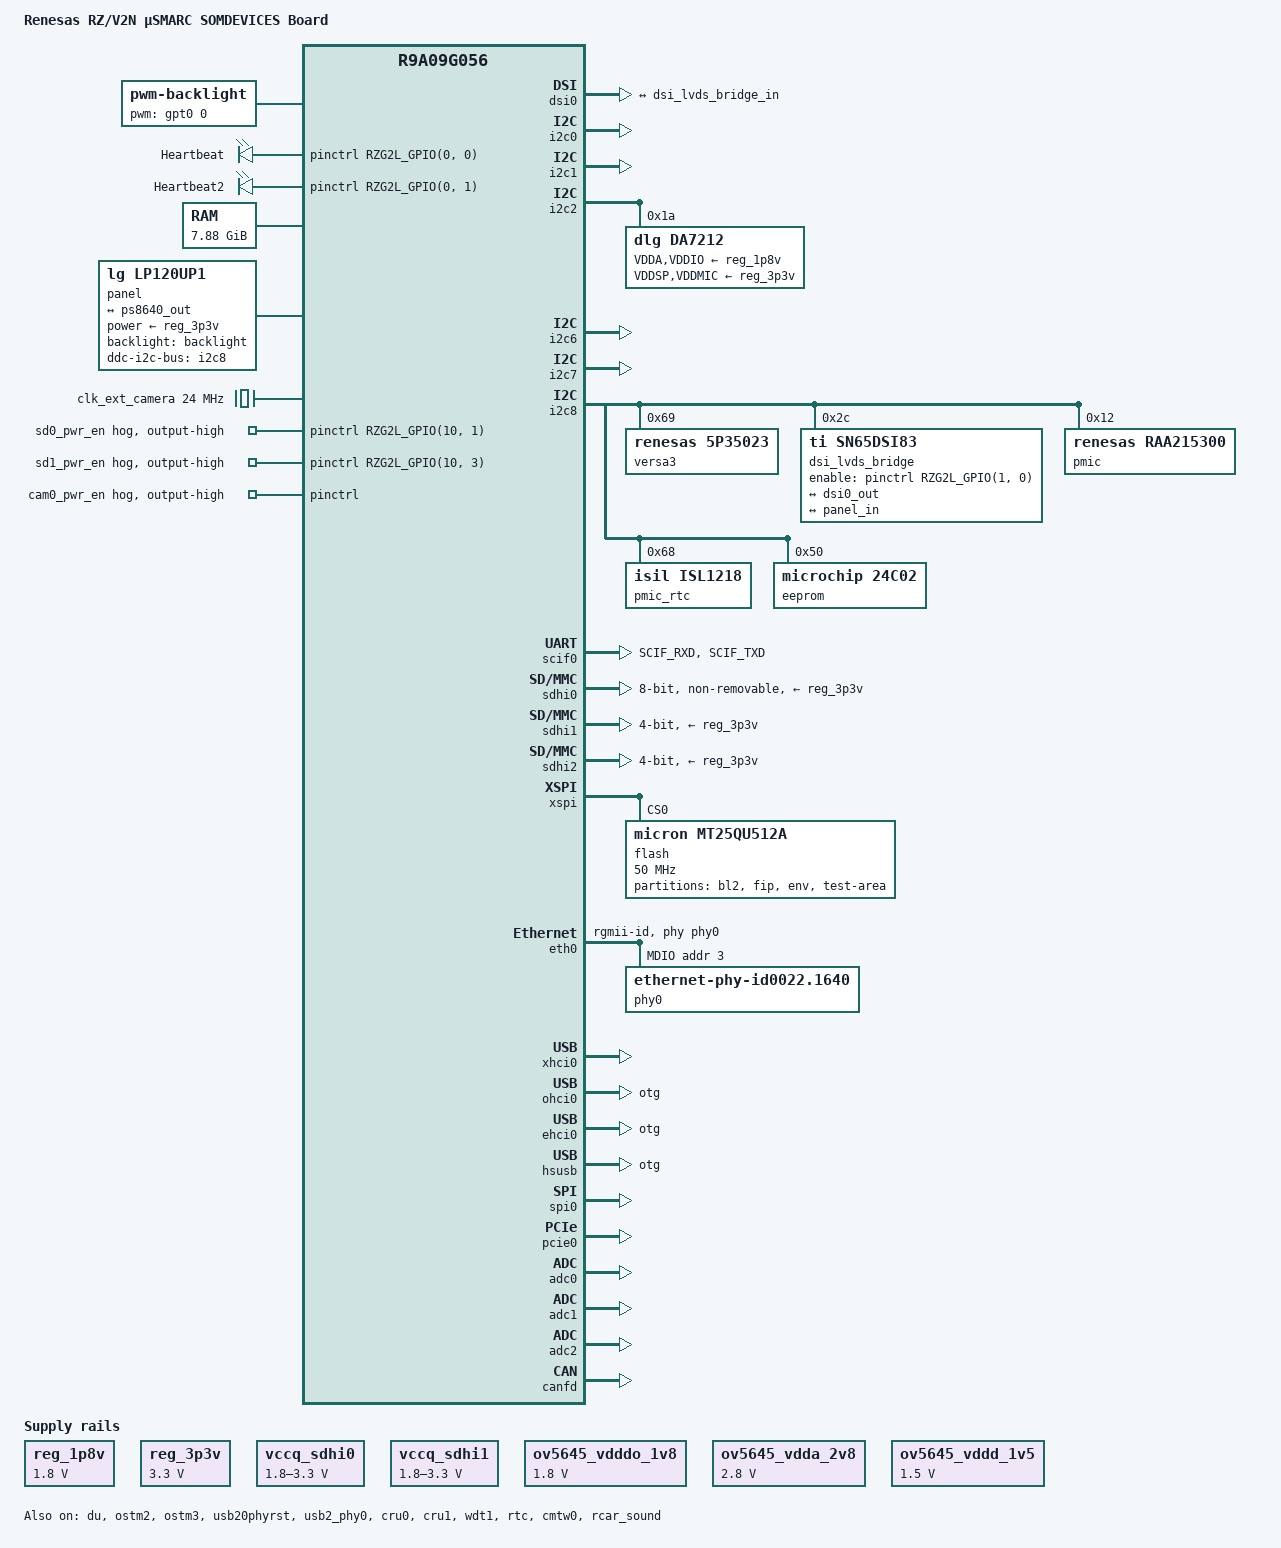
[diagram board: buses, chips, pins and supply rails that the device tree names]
// SPDX-License-Identifier: (GPL-2.0-only OR BSD-2-Clause)
/*
 * Device Tree Source for the RZ/V2N EVK board
 *
 * Copyright (C) 2024 Renesas Electronics Corp.
 */

/dts-v1/;
#include "r9a09g056.dtsi"
#include <dt-bindings/pinctrl/rzg2l-pinctrl.h>
#include <dt-bindings/gpio/gpio.h>

/*
 * SSI-DA7212
 *
 * These commands are required when Playback/Capture
 *
 *	amixer -q cset name='Aux Switch' on
 *	amixer -q cset name='Mixin Left Aux Left Switch' on
 *	amixer -q cset name='Mixin Right Aux Right Switch' on
 *	amixer -q cset name='ADC Switch' on
 *	amixer -q cset name='Mixout Right Mixin Right Switch' off
 *	amixer -q cset name='Mixout Left Mixin Left Switch' off
 *	amixer -q cset name='Headphone Volume' 70%
 *	amixer -q cset name='Headphone Switch' on
 *	amixer -q cset name='Mixout Left DAC Left Switch' on
 *	amixer -q cset name='Mixout Right DAC Right Switch' on
 *	amixer -q cset name='DAC Left Source MUX' 'DAI Input Left'
 *	amixer -q cset name='DAC Right Source MUX' 'DAI Input Right'
 *	amixer -q sset 'Mic 1 Amp Source MUX' 'MIC_P'
 *	amixer -q sset 'Mic 2 Amp Source MUX' 'MIC_P'
 *	amixer -q sset 'Mixin Left Mic 1' on
 *	amixer -q sset 'Mixin Right Mic 2' on
 *	amixer -q sset 'Mic 1' 90% on
 *	amixer -q sset 'Mic 2' 90% on
 *	amixer -q sset 'Lineout' 80% on
 *	amixer -q set "Headphone" 100% on
 *
 * When Capture, use this command to amplify sound
 *	amixer set 'DVC In',0 100%
 */

/ {
	model = "Renesas RZ/V2N µSMARC SOMDEVICES Board";
	compatible = "renesas,r9a09g056n44-somdevices", "renesas,r9a09g056n44", "renesas,r9a09g056";

	aliases {
		serial0 = &scif0;
		serial1 = &sci0;
		serial2 = &sci4;
		serial3 = &sci5;
		serial4 = &sci8;
		serial5 = &sci9;
		mmc0 = &sdhi0;
		mmc1 = &sdhi1;
		mmc2 = &sdhi2;
		ethernet0 = &eth0;
		ethernet1 = &eth1;
	};

	backlight: backlight {
		compatible = "pwm-backlight";
		pwms = <&gpt0 0 50000>;

		brightness-levels = <0 4 8 16 32 64 128 255>;
		default-brightness-level = <6>;
	};

	chosen {
		bootargs = "ignore_loglevel";
		stdout-path = "serial0:115200n8";
	};

	leds {
		compatible = "gpio-leds";

		status {
			label = "Heartbeat";
			gpios = <&pinctrl RZG2L_GPIO(0, 0) GPIO_ACTIVE_HIGH>;
			linux,default-trigger = "heartbeat";
		};

		status2 {
			label = "Heartbeat2";
			gpios = <&pinctrl RZG2L_GPIO(0, 1) GPIO_ACTIVE_HIGH>;
			linux,default-trigger = "heartbeat";
		};
	};

	memory@48000000 {
		device_type = "memory";
		/* first 128MB is reserved for secure area. */
		reg = <0x0 0x48000000 0x1 0xF8000000>;
	};

	panel: panel {
		//Copied from mediatek/mt8173-elm.dtsi
		compatible = "lg,lp120up1";
		power-supply = <&reg_3p3v>;
		ddc-i2c-bus = <&i2c8>;
		backlight = <&backlight>;

		port {
			panel_in: endpoint {
				remote-endpoint = <&ps8640_out>;
			};
		};
	};

	reserved-memory {
		#address-cells = <2>;
		#size-cells = <2>;
		ranges;

		global_cma: linux,cma@58000000 {
			compatible = "shared-dma-pool";
			linux,cma-default;
			reusable;
			reg = <0x0 0x58000000 0x0 0x10000000>;
		};

		mmp_reserved: linux,multimedia {
			compatible = "shared-dma-pool";
			reusable;
			reg = <0x00000000 0x68000000 0x0 0x20000000>;
		};

		isp: ISP@90000000 {
			compatible = "shared-dma-pool";
			reusable;
			reg = <0x0 0x90000000 0x0 0x18000000>;
		};

		opencva_reserved: OpenCVA@A8000000 {
			reusable;
			reg = <0x0 0xA8000000 0x0 0x7CFF000>;
		};

		shared_drp_reserved: SharedDRP@AFCFF000 {
			reusable;
			reg = <0x0 0xAFCFF000 0x0 0x00001000>;
		};

		drp_codec: DRP-Codec@AFD00000 {
			reusable;
			reg = <0x0 0xAFD00000 0x0 0x300000>;
		};

		image_buf0: image_buf@B0000000 {
			compatible = "shared-dma-pool";
			reusable;
			reg = <0x0 0xB0000000 0x0 0x4000000>;
			label = "image_buf0";
		};

		cru_func: cru_buffer@B4000000 {
			compatible = "shared-dma-pool";
			reusable;
			reg = <0x0 0xB4000000 0x0 0x16400000>;
		};

		drp_reserved: DRP-AI@D0000000 {
			reusable;
			reg = <0x0 0xD0000000 0x0 0x20000000>;
		};
	};

	mmngr {
		compatible = "renesas,mmngr";
		memory-region = <&mmp_reserved>;
	};

	mmngrbuf {
		compatible = "renesas,mmngrbuf";
	};

	vspm_if {
		compatible = "renesas,vspm_if";
	};

	reg_1p8v: regulator0 {
		compatible = "regulator-fixed";

		regulator-name = "fixed-1.8V";
		regulator-min-microvolt = <1800000>;
		regulator-max-microvolt = <1800000>;
		regulator-boot-on;
		regulator-always-on;
	};

	reg_3p3v: regulator1 {
		compatible = "regulator-fixed";

		regulator-name = "fixed-3.3V";
		regulator-min-microvolt = <3300000>;
		regulator-max-microvolt = <3300000>;
		regulator-boot-on;
		regulator-always-on;
	};

	vccq_sdhi0: regulator-vccq-sdhi0 {
		compatible = "regulator-gpio";

		regulator-name = "SDHI0 VccQ";
		regulator-min-microvolt = <1800000>;
		regulator-max-microvolt = <3300000>;

		gpios = <&pinctrl RZG2L_GPIO(10, 0) GPIO_ACTIVE_HIGH>;

		gpios-states = <0>;
		states = <3300000 0 1800000 1>;
	};

	vccq_sdhi1: regulator-vccq-sdhi1 {
		compatible = "regulator-gpio";

		regulator-name = "SDHI1 VccQ";
		regulator-min-microvolt = <1800000>;
		regulator-max-microvolt = <3300000>;

		gpios = <&pinctrl RZG2L_GPIO(10, 2) GPIO_ACTIVE_HIGH>;

		gpios-states = <0>;
		states = <3300000 0 1800000 1>;
	};

	clk_ext_camera: clk_ext_camera {
		compatible = "fixed-clock";
		#clock-cells = <0>;
		clock-frequency = <24000000>;
	};

	ov5645_vdddo_1v8: 1p8v {
		compatible = "regulator-fixed";
		regulator-name = "camera_vdddo";
		regulator-min-microvolt = <1800000>;
		regulator-max-microvolt = <1800000>;
		regulator-always-on;
	};

	ov5645_vdda_2v8: 2p8v {
		compatible = "regulator-fixed";
		regulator-name = "camera_vdda";
		regulator-min-microvolt = <2800000>;
		regulator-max-microvolt = <2800000>;
		regulator-always-on;
	};

	ov5645_vddd_1v5: 1p5v {
		compatible = "regulator-fixed";
		regulator-name = "camera_vddd";
		regulator-min-microvolt = <1500000>;
		regulator-max-microvolt = <1500000>;
		regulator-always-on;
	};

	x1_clk: x1-clock {
		compatible = "fixed-clock";
		#clock-cells = <0>;
		clock-frequency = <24000000>;
	};

	codec_test0: codec_test {
		compatible = "linux,snd-soc-dummy";
		#sound-dai-cells = <0>;
	};

	codec_test1: codec_test {
		compatible = "linux,snd-soc-dummy";
		#sound-dai-cells = <0>;
	};

	snd_rzv2n: sound {
		#address-cells = <1>;
		#size-cells = <0>;
		compatible = "simple-audio-card";
		simple-audio-card,name = "rsnd_rzv2n";
		status="okay";

		ssi_link: simple-audio-card,dai-link@0 {
			format = "i2s";
			reg = <0>;
			bitclock-master = <&cpu_dai0>;
			frame-master = <&cpu_dai0>;
			mclk-fs = <256>;

			cpu_dai0: cpu {
				sound-dai = <&rcar_sound 0>;
			};

			codec {
				sound-dai = <&da7212>;
				clocks = <&rcar_sound>;
			};
		};
	};

	x1_clk: x1-clock {
		compatible = "fixed-clock";
		#clock-cells = <0>;
		clock-frequency = <24000000>;
	};
};

&audio_clka {
	clock-frequency = <22579200>;
};

&audio_clkb {
	clock-frequency = <24576000>;
};

&audio_clkc {
	clock-frequency = <22579200>;
};

&pinctrl {

	gpt_pins: gpt {
		pinmux = <RZG2L_PORT_PINMUX(10, 7, 11)>; /* GTIOC7B */
	};

	i2c0_pins: i2c0 {
		pinmux = <RZG2L_PORT_PINMUX(3, 0, 1)>, /* I2C0_SDA */
			 <RZG2L_PORT_PINMUX(3, 1, 1)>; /* I2C0_SCL */
	};

	i2c1_pins: i2c1 {
		pinmux = <RZG2L_PORT_PINMUX(3, 2, 1)>, /* I2C1_SDA */
			 <RZG2L_PORT_PINMUX(3, 3, 1)>; /* I2C1_SCL */
	};

	i2c2_pins: i2c2 {
		pinmux = <RZG2L_PORT_PINMUX(2, 0, 4)>, /* I2C2_SDA */
			 <RZG2L_PORT_PINMUX(2, 1, 4)>; /* I2C2_SCL */
	};

	i2c6_pins: i2c6 {
		pinmux = <RZG2L_PORT_PINMUX(4, 4, 1)>, /* I2C6_SDA */
			 <RZG2L_PORT_PINMUX(4, 5, 1)>; /* I2C6_SCL */
	};

	i2c7_pins: i2c7 {
		pinmux = <RZG2L_PORT_PINMUX(4, 6, 1)>, /* I2C7_SDA */
			 <RZG2L_PORT_PINMUX(4, 7, 1)>; /* I2C7_SCL */
	};

	i2c8_pins: i2c8 {
		pinmux = <RZG2L_PORT_PINMUX(0, 6, 1)>, /* I2C8_SDA */
			 <RZG2L_PORT_PINMUX(0, 7, 1)>; /* I2C8_SCL */
	};

	scif0_pins: scif0 {
		pins =  "SCIF_RXD", "SCIF_TXD";
	};

	sd0_pwr_en {
		gpio-hog;
		gpios = <RZG2L_GPIO(10, 1) GPIO_ACTIVE_HIGH>;
		output-high;
		line-name = "sd0_pwr_en";
	};

	sd1_pwr_en {
		gpio-hog;
		gpios = <RZG2L_GPIO(10, 3) GPIO_ACTIVE_HIGH>;
		output-high;
		line-name = "sd1_pwr_en";
	};

	/* Support pinctrl for SD function of SDHI1 */
	sdhi1_pins: sd1 {
		sd1_mux {
			pinmux = <RZG2L_PORT_PINMUX(9, 4, 14)>, /* SD1_CD */
				 <RZG2L_PORT_PINMUX(10, 6, 15)>; /* SD1_WP */
		};
	};

	sdhi2_pins: sd2 {
		sd2_mux {
			pinmux = <RZG2L_PORT_PINMUX(11, 0, 1)>, /* SD2_CLK */
				 <RZG2L_PORT_PINMUX(11, 1, 1)>, /* SD2_DAT0 */
				 <RZG2L_PORT_PINMUX(11, 2, 1)>, /* SD2_DAT1 */
				 <RZG2L_PORT_PINMUX(11, 3, 1)>, /* SD2_DAT2 */
				 <RZG2L_PORT_PINMUX(11, 4, 1)>, /* SD2_DAT3 */
				 <RZG2L_PORT_PINMUX(11, 5, 1)>; /* SD2_CMD */
		};
	};

	usb30_pins: usb30 {
		pinmux = <RZG2L_PORT_PINMUX(6, 0, 14)>; /* VBUS */
	};

	usb20_pins: usb20 {
		pinmux = <RZG2L_PORT_PINMUX(9, 5, 14)>; /* VBUS */
	};

	spi0_pins: spi0 {
		pinmux = <RZG2L_PORT_PINMUX(9, 1, 1)>, /* MISO */
			 <RZG2L_PORT_PINMUX(9, 0, 1)>, /* MOSI */
			 <RZG2L_PORT_PINMUX(9, 3, 1)>, /* SSL0 */
			 <RZG2L_PORT_PINMUX(9, 2, 1)>, /* RSPCK */
			 <RZG2L_PORT_PINMUX(0, 5, 2)>; /* SSL1 */
	};

	/* cam0_pwr_en is used by Google Coral Camera from CSI20 and CSI21 */
	cam0_pwr_en {
		gpio-hog;
		//gpios = <RZG2L_GPIO(11, 2) GPIO_ACTIVE_HIGH>;
		output-high;
		line-name = "cam0_pwr_en";
	};

	/* Support pinctrl for CANFD */
	can0_pins: can0 {
		pinmux = <RZG2L_PORT_PINMUX(8, 0, 5)>, /* CAN1_TX */
			 <RZG2L_PORT_PINMUX(8, 1, 5)>; /* CAN1_RX */
	};

	can1_pins: can1 {
		pinmux = <RZG2L_PORT_PINMUX(8, 2, 5)>, /* CAN2_TX */
			 <RZG2L_PORT_PINMUX(8, 3, 5)>; /* CAN2_RX */
	};

	sci0_pins: sci0 {
		pinmux = <RZG2L_PORT_PINMUX(5, 0, 1)>, /* UART0_TXD */
			 <RZG2L_PORT_PINMUX(5, 1, 1)>, /* UART0_RXD */
			 <RZG2L_PORT_PINMUX(5, 2, 4)>, /* UART0_CTS */
			 <RZG2L_PORT_PINMUX(5, 3, 2)>; /* UART0_RTS */
	};

	sci2_pins: sci2 {
		pinmux = <RZG2L_PORT_PINMUX(5, 4, 1)>, /* UART2_BT_TXD */
			 <RZG2L_PORT_PINMUX(5, 5, 1)>, /* UART2_BT_RXD */
			 <RZG2L_PORT_PINMUX(5, 6, 4)>, /* UART2_BT_CTS */
			 <RZG2L_PORT_PINMUX(5, 7, 2)>; /* UART2_BT_RTS */
	};

	sci3_pins: sci3 {
		pinmux = <RZG2L_PORT_PINMUX(3, 4, 2)>, /* UART3_TXD */
			 <RZG2L_PORT_PINMUX(3, 5, 2)>, /* UART3_RXD */
			 <RZG2L_PORT_PINMUX(3, 6, 4)>, /* UART3_CTS */
			 <RZG2L_PORT_PINMUX(3, 7, 2)>; /* UART3_RTS */
	};

	sci4_pins: sci4 {
		pinmux = <RZG2L_PORT_PINMUX(8, 4, 6)>, /* UART4_TXD */
			 <RZG2L_PORT_PINMUX(8, 5, 6)>; /* UART4_RXD */
	};

	sound_clk_pins: sound_clk {
		pinmux = <RZG2L_PORT_PINMUX(1, 0, 7)>, /* AUDIO_CLKB */
			 <RZG2L_PORT_PINMUX(1, 1, 7)>, /* AUDIO_CLKC */
			 <RZG2L_PORT_PINMUX(9, 7, 8)>; /* AUDIO_CLKOUT */
	};

	sound_pins: sound {
		pinmux = <RZG2L_PORT_PINMUX(1, 2, 7)>, /* SSI3_SCK */
			 <RZG2L_PORT_PINMUX(1, 3, 7)>, /* SSI3_WS */
			 <RZG2L_PORT_PINMUX(0, 4, 7)>, /* SSI3_SDATA */
			 <RZG2L_PORT_PINMUX(1, 5, 7)>; /* SSI4_SDATA */

	};
};

&du {
	status = "okay";
};

&dsi0 {
	status = "okay";

	ports {
		port@1 {
			dsi0_out: endpoint {
				remote-endpoint = <&dsi_lvds_bridge_in>;
				data-lanes = <1 2 3 4>;
			};
		};
	};
};

&extal_clk {
	clock-frequency = <24000000>;
};

&gpt0 {
	pinctrl-0 = <&gpt_pins>;
	pinctrl-names = "default";
	channel = "channel_B";
	/* TODO gpt: Add correct support */
	status = "disabled";
};

&i2c0 {
	pinctrl-0 = <&i2c0_pins>;
	pinctrl-names = "default";

	status = "okay";
};

&i2c1 {
	pinctrl-0 = <&i2c1_pins>;
	pinctrl-names = "default";

	status = "okay";
};

&i2c2 {
	pinctrl-0 = <&i2c2_pins>;
	pinctrl-names = "default";

	status = "okay";

	da7212: codec@1a {
		compatible = "dlg,da7212";
		#sound-dai-cells = <0>;
		#address-cells = <1>;
		#size-cells = <0>;
		reg = <0x1a>;

		clocks = <&rcar_sound>;
		clock-names = "mclk";

		dlg,micbias1-lvl = <2500>;
		dlg,micbias2-lvl = <2500>;
		dlg,dmic-data-sel = "lrise_rfall";
		dlg,dmic-samplephase = "between_clkedge";
		dlg,dmic-clkrate = <3000000>;

		VDDA-supply = <&reg_1p8v>;
		VDDSP-supply = <&reg_3p3v>;
		VDDMIC-supply = <&reg_3p3v>;
		VDDIO-supply = <&reg_1p8v>;
	};
};

&i2c6 {
	pinctrl-0 = <&i2c6_pins>;
	pinctrl-names = "default";

	status = "okay";
};

&i2c7 {
	pinctrl-0 = <&i2c7_pins>;
	pinctrl-names = "default";

	status = "okay";
};

&i2c8 {
	pinctrl-0 = <&i2c8_pins>;
	pinctrl-names = "default";

	status = "okay";

	versa3: versa3@69 {
		compatible = "renesas,5p35023";
		reg = <0x69>;
		#clock-cells = <1>;
		clocks = <&x1_clk>;
		clock-names = "x1";
		otp-burned;
		32kHz-free-running;
		assigned-clocks = <&versa3 0>,
				  <&versa3 1>,
				  <&versa3 2>,
				  <&versa3 3>,
				  <&versa3 4>,
				  <&versa3 5>;
		assigned-clock-rates =  <100000000>, <100000000>,
					<22579200>, <32768>,
					<24578000>, <24000000>;
		clock-divider-read-only = <1>, <1>, <1>, <1>, <1>;
		clock-flags = <2176>, <2176>, <2176>, <2052>, <2176>, <2048>;
	};

	dsi_lvds_bridge: sn65dsi84@2c {
		compatible = "ti,sn65dsi83";
		reg = <0x2c>;
		ti,dsi-lanes = <4>;
		ti,lvds-format = <2>;
		ti,lvds-bpp = <24>;
		ti,lvds-channels = <1>;
		ti,width-mm = <154>;
		ti,height-mm = <87>;
		enable-gpios = <&pinctrl RZG2L_GPIO(1, 0) GPIO_ACTIVE_HIGH>;
		status = "okay";

		display-timings {
			lvds {
				clock-frequency = <51200000>;
				hactive = <1024>;
				vactive = <600>;
				hfront-porch = <120>;
				hsync-len = <20>;
				hback-porch = <140>;
				vfront-porch = <12>;
				vsync-len = <3>;
				vback-porch = <20>;

				hsync-active = <0>;
				vsync-active = <0>;
				de-active = <1>;
				pixelclk-active = <0>;
			};
		};

		ports {
			#address-cells = <1>;
			#size-cells = <0>;

			port@0 {
				reg = <0>;
				dsi_lvds_bridge_in: endpoint@0 {
					remote-endpoint = <&dsi0_out>;
				};
			};

			port@1 {
				reg = <1>;
				ps8640_out: endpoint@1 {
					remote-endpoint = <&panel_in>;
				};
			};
		};
	};

	pmic: raa215300@12 {
		compatible = "renesas,raa215300";
		reg = <0x12>;

		rtc-enable;

		charger-enable;
		charger-current-level = <60>;
		charger-termination-voltage = <3000>;
	};

	pmic_rtc: rtc@68 {
		compatible = "isil,isl1218";
		reg = <0x68>;
	};

	eeprom@50 {
		compatible = "microchip,24c02";
		reg = <0x50>;
	};
};

&ostm2 {
	status = "okay";
};

&ostm3 {
	status = "okay";
};

&scif0 {
	pinctrl-0 = <&scif0_pins>;
	pinctrl-names = "default";

	status = "okay";
};

&sdhi0 {
	vmmc-supply = <&reg_3p3v>;
	vqmmc-supply = <&reg_1p8v>;
	vqmmc-supply = <&vccq_sdhi0>;
	bus-width = <8>;
	mmc-hs200-1_8v;
	non-removable;
	fixed-emmc-driver-type = <1>;
	status = "okay";
};

&sdhi1 {
	pinctrl-0 = <&sdhi1_pins>;
	pinctrl-names = "default";

	vmmc-supply = <&reg_3p3v>;
	vqmmc-supply = <&vccq_sdhi1>;
	bus-width = <4>;
	sd-uhs-sdr50;
	sd-uhs-sdr104;
	status = "okay";
};

&sdhi2 {
	pinctrl-0 = <&sdhi2_pins>;
	pinctrl-names = "default";

	vmmc-supply = <&reg_3p3v>;
	bus-width = <4>;
	sd-uhs-sdr50;
	sd-uhs-sdr104;
	status = "okay";
};

&xspi {
	status = "okay";

	flash@0 {
		compatible = "micron,mt25qu512a", "jedec,spi-nor";
		reg = <0>;
		m25p,fast-read;
		spi-max-frequency = <50000000>;
		spi-tx-bus-width = <1>;
		spi-rx-bus-width = <1>;

		partitions {
			compatible = "fixed-partitions";
			#address-cells = <1>;
			#size-cells = <1>;

			partition@000000 {
				label = "bl2";
				reg = <0x00000000 0x0001D200>;
				read-only;
			};

			partition@01D200 {
				label = "fip";
				reg = <0x0001D200 0x001C2E00>;
				read-only;
			};

			partition@1E0000 {
				label = "env";
				reg = <0x001E0000 0x00020000>;
				read-only;
			};

			partition@200000 {
				label = "test-area";
				reg = <0x00200000 0x00E00000>;
			};
		};
	};
};

&eth0 {
	phy-handle = <&phy0>;
	phy-mode = "rgmii-id";
	status = "okay";

	mdio {
		#address-cells = <1>;
		#size-cells = <0>;
		phy0: ethernet-phy@3 {
			compatible = "ethernet-phy-id0022.1640",
				     "ethernet-phy-ieee802.3-c22";
			reg = <3>;
			rxc-skew-psec = <1400>;
			txc-skew-psec = <1400>;
			rxdv-skew-psec = <0>;
			txdv-skew-psec = <0>;
			rxd0-skew-psec = <0>;
			rxd1-skew-psec = <0>;
			rxd2-skew-psec = <0>;
			rxd3-skew-psec = <0>;
			txd0-skew-psec = <0>;
			txd1-skew-psec = <0>;
			txd2-skew-psec = <0>;
			txd3-skew-psec = <0>;
		};
	};
};

&eth1 {
	phy-handle = <&phy1>;
	phy-mode = "rgmii-id";
	status = "disabled";

	mdio {
		#address-cells = <1>;
		#size-cells = <0>;
		phy1: ethernet-phy@3 {
			compatible = "ethernet-phy-id0022.1640",
				     "ethernet-phy-ieee802.3-c22";
			reg = <3>;
			rxc-skew-psec = <1400>;
			txc-skew-psec = <1400>;
			rxdv-skew-psec = <0>;
			txdv-skew-psec = <0>;
			rxd0-skew-psec = <0>;
			rxd1-skew-psec = <0>;
			rxd2-skew-psec = <0>;
			rxd3-skew-psec = <0>;
			txd0-skew-psec = <0>;
			txd1-skew-psec = <0>;
			txd2-skew-psec = <0>;
			txd3-skew-psec = <0>;
		};
	};
};

&xhci0 {
	pinctrl-0 = <&usb30_pins>;
	pinctrl-names = "default";

	memory-region = <&global_cma>;
	status = "okay";
};

&usb20phyrst {
	status = "okay";
};

&ohci0 {
	memory-region = <&global_cma>;

	dr_mode = "otg";
	status = "okay";
};

&ehci0 {
	memory-region = <&global_cma>;

	dr_mode = "otg";
	status = "okay";
};

&hsusb {
	dr_mode = "otg";
	status = "okay";
};

&usb2_phy0 {
	pinctrl-0 = <&usb20_pins>;
	pinctrl-names = "default";

	status = "okay";
};

&cru0 {
	status = "okay";
};

&csi20 {
	status = "disabled";
};

&cru1 {
	status = "okay";
};

&csi21 {
	status = "disabled";
};

&wdt1 {
	status = "okay";
};

&rtc {
	status = "okay";
};

&cmtw0 {
	status = "okay";
};

&spi0 {
	pinctrl-0 = <&spi0_pins>;
	pinctrl-names = "default";

	status = "okay";
};

&pcie0 {
	/* Map all possible DDR as inbound ranges */
	dma-ranges = <0x42000000 0 0x40000000 0 0x40000000 0x2 0x00000000>;

	status = "okay";
};

&adc0 {
	status = "okay";
};

&adc1 {
	status = "okay";
};

&adc2 {
	status = "okay";
};

&canfd {
	pinctrl-0 = <&can0_pins &can1_pins>;
	pinctrl-names = "default";
	status = "okay";

	channel0 {
		status = "okay";
	};

	channel1 {
		status = "okay";
	};
};

&sci0 {
	pinctrl-0 = <&sci0_pins>;
	pinctrl-names = "default";
	uart-has-rtscts;
	status = "disabled";
};

&sci2 {
	pinctrl-0 = <&sci2_pins>;
	pinctrl-names = "default";
	uart-has-rtscts;
	status = "disabled";
};

&sci3 {
	pinctrl-0 = <&sci3_pins>;
	pinctrl-names = "default";
	uart-has-rtscts;
	status = "disabled";
};

&sci4 {
	pinctrl-0 = <&sci4_pins>;
	pinctrl-names = "default";

	status = "disabled";
};

&rcar_sound {
	pinctrl-0 = <&sound_clk_pins &sound_pins>;
	pinctrl-names = "default";

	status = "okay";

	/* audio_clkout */
	#clock-cells = <0>;
	clock-frequency = <11289600>;

	/* Multi DAI */
	#sound-dai-cells = <1>;

	rcar_sound,dai {
		dai0 {
			playback = <&ssi3>;
			capture  = <&ssi4 &src0 &dvc0>;
		};
	};
};

&ssi4 {
	shared-pin;
};
